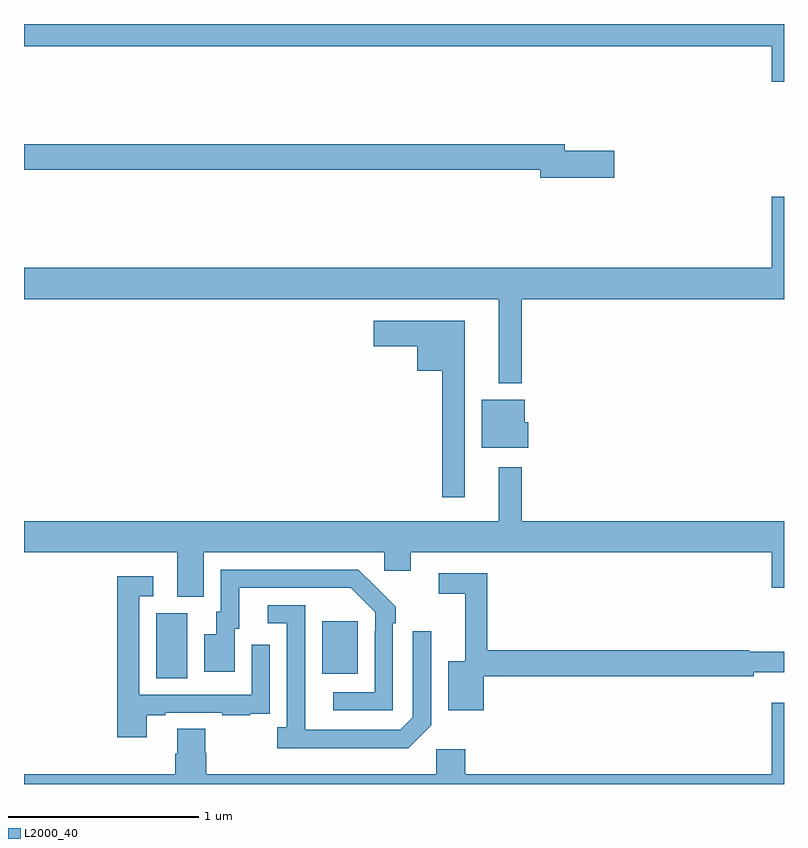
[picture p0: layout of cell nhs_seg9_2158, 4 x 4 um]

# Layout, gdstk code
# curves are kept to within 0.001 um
import gdstk
lib = gdstk.Library(unit=1e-6, precision=1e-09)
def R(c, l, rs):  # rectangles x0, y0, x1, y1
    for r in rs: c.add(gdstk.rectangle(r[:2], r[2:], *l))
def P(c, l, *ps):  # polygons
    for p in ps: c.add(gdstk.Polygon(p, *l))
L2000_40 = (2000, 40)

nhs_seg9_2158 = lib.new_cell('nhs_seg9_2158')
R(nhs_seg9_2158, L2000_40, [(233.696,1229.056,233.86,1229.4), (234.569,1229.081,234.757,1229.356)])
P(nhs_seg9_2158, L2000_40, [(237,1232.5),(233,1232.5),(233,1232.384),(236.936,1232.384),(236.936,1232.196),(237,1232.196)],
  [(236.107,1231.832),(235.846,1231.832),(235.846,1231.868),(233,1231.868),(233,1231.732),(235.718,1231.732),(235.718,1231.69),(236.107,1231.69)],
  [(235.621,1231.052),(237,1231.052),(237,1231.591),(236.936,1231.591),(236.936,1231.216),(233,1231.216),(233,1231.052),(235.499,1231.052),(235.499,1230.608),(235.621,1230.608)],
  [(235.321,1230.937),(234.84,1230.937),(234.84,1230.803),(235.07,1230.803),(235.07,1230.674),(235.2,1230.674),(235.2,1230.009),(235.321,1230.009)],
  [(235.654,1230.405),(235.636,1230.405),(235.636,1230.523),(235.409,1230.523),(235.409,1230.269),(235.654,1230.269)],
  [(233.947,1229.72),(234.897,1229.72),(234.897,1229.622),(235.036,1229.622),(235.036,1229.72),(236.936,1229.72),(236.936,1229.532),(237,1229.532),(237,1229.884),(235.621,1229.884),(235.621,1230.166),(235.499,1230.166),(235.499,1229.884),(233,1229.884),(233,1229.72),(233.807,1229.72),(233.807,1229.485),(233.947,1229.485)],
  [(234.942,1229.345),(234.957,1229.345),(234.957,1229.433),(234.76,1229.628),(234.036,1229.628),(234.036,1229.406),(234.011,1229.406),(234.011,1229.287),(233.948,1229.287),(233.948,1229.091),(234.109,1229.091),(234.109,1229.316),(234.133,1229.316),(234.133,1229.532),(234.721,1229.532),(234.849,1229.403),(234.849,1229.303),(234.846,1229.303),(234.846,1228.983),(234.627,1228.983),(234.627,1228.887),(234.942,1228.887)],
  [(235.419,1229.068),(236.84,1229.068),(236.84,1229.087),(237,1229.087),(237,1229.197),(236.816,1229.197),(236.816,1229.204),(235.439,1229.204),(235.439,1229.61),(235.182,1229.61),(235.182,1229.502),(235.322,1229.502),(235.322,1229.146),(235.232,1229.146),(235.232,1228.889),(235.419,1228.889)],
  [(233.647,1228.863),(233.743,1228.863),(233.743,1228.875),(234.043,1228.875),(234.043,1228.863),(234.191,1228.863),(234.191,1228.869),(234.293,1228.869),(234.293,1228.978),(234.294,1228.978),(234.294,1229.233),(234.198,1229.233),(234.198,1228.971),(233.607,1228.971),(233.607,1229.487),(233.68,1229.487),(233.68,1229.593),(233.491,1229.593),(233.491,1228.746),(233.647,1228.746)],
  [(235.143,1228.809),(235.143,1229.305),(235.047,1229.305),(235.047,1228.851),(234.981,1228.785),(234.481,1228.785),(234.48,1229.442),(234.282,1229.442),(234.282,1229.346),(234.384,1229.346),(234.384,1228.798),(234.333,1228.798),(234.333,1228.688),(235.022,1228.688)],
  [(237,1228.927),(236.936,1228.927),(236.936,1228.552),(235.322,1228.552),(235.322,1228.684),(235.17,1228.684),(235.17,1228.552),(233.96,1228.552),(233.96,1228.665),(233.955,1228.665),(233.955,1228.79),(233.807,1228.79),(233.807,1228.658),(233.795,1228.658),(233.795,1228.552),(233,1228.552),(233,1228.5),(237,1228.5)])

lib.write_gds('nhs_seg9_2158.gds')
